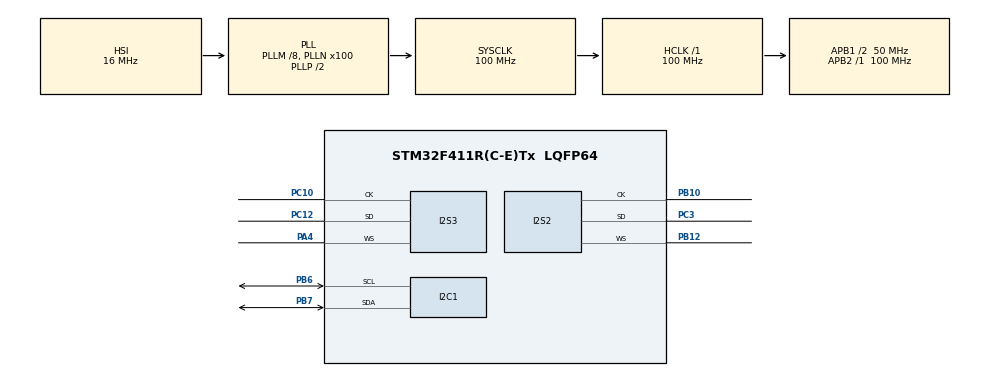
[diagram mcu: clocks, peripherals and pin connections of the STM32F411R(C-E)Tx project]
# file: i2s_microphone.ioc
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Dma.Request0=SPI2_TX
Dma.Request1=SPI3_RX
Dma.SPI2_TX.0.Direction=DMA_MEMORY_TO_PERIPH
Dma.SPI2_TX.0.FIFOMode=DMA_FIFOMODE_DISABLE
Dma.SPI2_TX.0.Instance=DMA1_Stream4
Dma.SPI2_TX.0.MemDataAlignment=DMA_MDATAALIGN_HALFWORD
Dma.SPI2_TX.0.MemInc=DMA_MINC_ENABLE
Dma.SPI2_TX.0.Mode=DMA_NORMAL
Dma.SPI2_TX.0.PeriphDataAlignment=DMA_PDATAALIGN_HALFWORD
Dma.SPI2_TX.0.PeriphInc=DMA_PINC_DISABLE
Dma.SPI2_TX.0.Priority=DMA_PRIORITY_LOW
Dma.SPI3_RX.1.Direction=DMA_PERIPH_TO_MEMORY
Dma.SPI3_RX.1.FIFOMode=DMA_FIFOMODE_DISABLE
Dma.SPI3_RX.1.Instance=DMA1_Stream0
Dma.SPI3_RX.1.MemDataAlignment=DMA_MDATAALIGN_HALFWORD
Dma.SPI3_RX.1.MemInc=DMA_MINC_ENABLE
Dma.SPI3_RX.1.Mode=DMA_NORMAL
Dma.SPI3_RX.1.PeriphDataAlignment=DMA_PDATAALIGN_HALFWORD
Dma.SPI3_RX.1.PeriphInc=DMA_PINC_DISABLE
Dma.SPI3_RX.1.Priority=DMA_PRIORITY_LOW
I2C1.I2C_Mode=I2C_Fast
I2S2.AudioFreq=I2S_AUDIOFREQ_16K
I2S2.ErrorAudioFreq=-0.26 %
I2S2.FullDuplexMode=I2S_FULLDUPLEXMODE_DISABLE
I2S2.Instance=SPI$Index
I2S2.RealAudioFreq=15.957 KHz
I2S2.VirtualMode=I2S_MODE_MASTER
I2S3.AudioFreq=I2S_AUDIOFREQ_16K
I2S3.DataFormat=I2S_DATAFORMAT_16B
I2S3.ErrorAudioFreq=-0.26 %
I2S3.FullDuplexMode=I2S_FULLDUPLEXMODE_DISABLE
I2S3.Instance=SPI$Index
I2S3.Mode=I2S_MODE_MASTER_RX
I2S3.RealAudioFreq=15.957 KHz
I2S3.VirtualMode=I2S_MODE_MASTER
Mcu.Family=STM32F4
Mcu.Name=STM32F411R(C-E)Tx
Mcu.Package=LQFP64
NVIC.DMA1_Stream0_IRQn=true\:0\:0\:false\:false\:true\:false\:true\:true
NVIC.DMA1_Stream4_IRQn=true\:0\:0\:false\:false\:true\:false\:true\:true
NVIC.PriorityGroup=NVIC_PRIORITYGROUP_4
PA4.Mode=Half_Duplex_Master
PA4.Signal=I2S3_WS
PB10.Mode=Half_Duplex_Master
PB10.Signal=I2S2_CK
PB12.Mode=Half_Duplex_Master
PB12.Signal=I2S2_WS
PB6.GPIO_Pu=GPIO_PULLUP
PB6.Mode=I2C
PB6.Signal=I2C1_SCL
PB7.GPIO_Pu=GPIO_PULLUP
PB7.Mode=I2C
PB7.Signal=I2C1_SDA
PC10.Mode=Half_Duplex_Master
PC10.Signal=I2S3_CK
PC12.Mode=Half_Duplex_Master
PC12.Signal=I2S3_SD
PC3.Mode=Half_Duplex_Master
PC3.Signal=I2S2_SD
ProjectManager.HeapSize=0x200
ProjectManager.StackSize=0x400
ProjectManager.TargetToolchain=STM32CubeIDE
RCC.48MHZClocksFreq_Value=50000000
RCC.AHBFreq_Value=100000000
RCC.APB1CLKDivider=RCC_HCLK_DIV2
RCC.APB1Freq_Value=50000000
RCC.APB1TimFreq_Value=100000000
RCC.APB2Freq_Value=100000000
RCC.APB2TimFreq_Value=100000000
RCC.CortexFreq_Value=100000000
RCC.HCLKFreq_Value=100000000
RCC.HSE_VALUE=25000000
RCC.HSI_VALUE=16000000
RCC.LSE_VALUE=32768
RCC.PLLM=8
RCC.PLLN=100
RCC.SYSCLKFreq_VALUE=100000000
RCC.SYSCLKSource=RCC_SYSCLKSOURCE_PLLCLK
RCC.VCOOutputFreq_Value=200000000
board=custom

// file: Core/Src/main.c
/* USER CODE BEGIN Header */
/**
  ******************************************************************************
  * @file           : main.c
  * @brief          : Main program body
  ******************************************************************************
  * @attention
  *
  * Copyright (c) 2024 STMicroelectronics.
  * All rights reserved.
  *
  * This software is licensed under terms that can be found in the LICENSE file
  * in the root directory of this software component.
  * If no LICENSE file comes with this software, it is provided AS-IS.
  *
  ******************************************************************************
  */
/* USER CODE END Header */
#include "main.h"

/* USER CODE BEGIN Includes */
#include "ssd1306.h"
/* USER CODE END Includes */

I2C_HandleTypeDef hi2c1;

I2S_HandleTypeDef hi2s2;
I2S_HandleTypeDef hi2s3;
DMA_HandleTypeDef hdma_spi2_tx;
DMA_HandleTypeDef hdma_spi3_rx;

void SystemClock_Config(void);
void PeriphCommonClock_Config(void);
static void MX_GPIO_Init(void);
static void MX_DMA_Init(void);
static void MX_I2S2_Init(void);
static void MX_I2S3_Init(void);
static void MX_I2C1_Init(void);

/* USER CODE BEGIN 0 */
int16_t 	toReceive[256];
int16_t		toTransmit;
uint16_t	i2s_done = 0;
void HAL_I2S_RxCpltCallback(I2S_HandleTypeDef *hi2s) {
	//toTransmit = toReceive;
	//HAL_I2S_Transmit_DMA(&hi2s2, &toTransmit, 1);
	i2s_done = 1;
	HAL_I2S_Receive_DMA(hi2s, toReceive, 256);
}
/* USER CODE END 0 */

int main(void)
{

  /* MCU Configuration--------------------------------------------------------*/

  /* Reset of all peripherals, Initializes the Flash interface and the Systick. */
  HAL_Init();

  /* Configure the system clock */
  SystemClock_Config();

/* Configure the peripherals common clocks */
  PeriphCommonClock_Config();

  /* Initialize all configured peripherals */
  MX_GPIO_Init();
  MX_DMA_Init();
  MX_I2S2_Init();
  MX_I2S3_Init();
  MX_I2C1_Init();
  /* USER CODE BEGIN 2 */
  HAL_I2S_Receive_DMA(&hi2s3, toReceive, 256);

  ssd1306_Init();
  ssd1306_SetCursor(0, 0);
  ssd1306_WriteString("i2c microphone", Font_6x8, 1);
  ssd1306_UpdateScreen();
  /* USER CODE END 2 */

  /* Infinite loop */
  /* USER CODE BEGIN WHILE */
  while (1)
  {
  	if(i2s_done == 1) {
  		i2s_done = 0;
			ssd1306_Fill(0);
  		for(int x = 0; x < 128; x++) {
				ssd1306_DrawPixel(x, (toReceive[x*2]>>8) + 32, 1);
  		}
			ssd1306_UpdateScreen();
  	}
    /* USER CODE END WHILE */

  }
}

void SystemClock_Config(void)
{
  RCC_OscInitTypeDef RCC_OscInitStruct = {0};
  RCC_ClkInitTypeDef RCC_ClkInitStruct = {0};

  /** Configure the main internal regulator output voltage
  */
  __HAL_RCC_PWR_CLK_ENABLE();
  __HAL_PWR_VOLTAGESCALING_CONFIG(PWR_REGULATOR_VOLTAGE_SCALE1);

  /** Initializes the RCC Oscillators according to the specified parameters
  * in the RCC_OscInitTypeDef structure.
  */
  RCC_OscInitStruct.OscillatorType = RCC_OSCILLATORTYPE_HSI;
  RCC_OscInitStruct.HSIState = RCC_HSI_ON;
  RCC_OscInitStruct.HSICalibrationValue = RCC_HSICALIBRATION_DEFAULT;
  RCC_OscInitStruct.PLL.PLLState = RCC_PLL_ON;
  RCC_OscInitStruct.PLL.PLLSource = RCC_PLLSOURCE_HSI;
  RCC_OscInitStruct.PLL.PLLM = 8;
  RCC_OscInitStruct.PLL.PLLN = 100;
  RCC_OscInitStruct.PLL.PLLP = RCC_PLLP_DIV2;
  RCC_OscInitStruct.PLL.PLLQ = 4;
  if (HAL_RCC_OscConfig(&RCC_OscInitStruct) != HAL_OK)
  {
    Error_Handler();
  }

  /** Initializes the CPU, AHB and APB buses clocks
  */
  RCC_ClkInitStruct.ClockType = RCC_CLOCKTYPE_HCLK|RCC_CLOCKTYPE_SYSCLK
                              |RCC_CLOCKTYPE_PCLK1|RCC_CLOCKTYPE_PCLK2;
  RCC_ClkInitStruct.SYSCLKSource = RCC_SYSCLKSOURCE_PLLCLK;
  RCC_ClkInitStruct.AHBCLKDivider = RCC_SYSCLK_DIV1;
  RCC_ClkInitStruct.APB1CLKDivider = RCC_HCLK_DIV2;
  RCC_ClkInitStruct.APB2CLKDivider = RCC_HCLK_DIV1;

  if (HAL_RCC_ClockConfig(&RCC_ClkInitStruct, FLASH_LATENCY_3) != HAL_OK)
  {
    Error_Handler();
  }
}

void PeriphCommonClock_Config(void)
{
  RCC_PeriphCLKInitTypeDef PeriphClkInitStruct = {0};

  /** Initializes the peripherals clock
  */
  PeriphClkInitStruct.PeriphClockSelection = RCC_PERIPHCLK_I2S;
  PeriphClkInitStruct.PLLI2S.PLLI2SN = 192;
  PeriphClkInitStruct.PLLI2S.PLLI2SM = 16;
  PeriphClkInitStruct.PLLI2S.PLLI2SR = 2;
  if (HAL_RCCEx_PeriphCLKConfig(&PeriphClkInitStruct) != HAL_OK)
  {
    Error_Handler();
  }
}

static void MX_I2C1_Init(void)
{

  hi2c1.Instance = I2C1;
  hi2c1.Init.ClockSpeed = 400000;
  hi2c1.Init.DutyCycle = I2C_DUTYCYCLE_2;
  hi2c1.Init.OwnAddress1 = 0;
  hi2c1.Init.AddressingMode = I2C_ADDRESSINGMODE_7BIT;
  hi2c1.Init.DualAddressMode = I2C_DUALADDRESS_DISABLE;
  hi2c1.Init.OwnAddress2 = 0;
  hi2c1.Init.GeneralCallMode = I2C_GENERALCALL_DISABLE;
  hi2c1.Init.NoStretchMode = I2C_NOSTRETCH_DISABLE;
  if (HAL_I2C_Init(&hi2c1) != HAL_OK)
  {
    Error_Handler();
  }

}

static void MX_I2S2_Init(void)
{

  hi2s2.Instance = SPI2;
  hi2s2.Init.Mode = I2S_MODE_MASTER_TX;
  hi2s2.Init.Standard = I2S_STANDARD_PHILIPS;
  hi2s2.Init.DataFormat = I2S_DATAFORMAT_16B;
  hi2s2.Init.MCLKOutput = I2S_MCLKOUTPUT_DISABLE;
  hi2s2.Init.AudioFreq = I2S_AUDIOFREQ_16K;
  hi2s2.Init.CPOL = I2S_CPOL_LOW;
  hi2s2.Init.ClockSource = I2S_CLOCK_PLL;
  hi2s2.Init.FullDuplexMode = I2S_FULLDUPLEXMODE_DISABLE;
  if (HAL_I2S_Init(&hi2s2) != HAL_OK)
  {
    Error_Handler();
  }

}

static void MX_I2S3_Init(void)
{

  hi2s3.Instance = SPI3;
  hi2s3.Init.Mode = I2S_MODE_MASTER_RX;
  hi2s3.Init.Standard = I2S_STANDARD_PHILIPS;
  hi2s3.Init.DataFormat = I2S_DATAFORMAT_16B;
  hi2s3.Init.MCLKOutput = I2S_MCLKOUTPUT_DISABLE;
  hi2s3.Init.AudioFreq = I2S_AUDIOFREQ_16K;
  hi2s3.Init.CPOL = I2S_CPOL_LOW;
  hi2s3.Init.ClockSource = I2S_CLOCK_PLL;
  hi2s3.Init.FullDuplexMode = I2S_FULLDUPLEXMODE_DISABLE;
  if (HAL_I2S_Init(&hi2s3) != HAL_OK)
  {
    Error_Handler();
  }

}

static void MX_DMA_Init(void)
{

  /* DMA controller clock enable */
  __HAL_RCC_DMA1_CLK_ENABLE();

  /* DMA interrupt init */
  /* DMA1_Stream0_IRQn interrupt configuration */
  HAL_NVIC_SetPriority(DMA1_Stream0_IRQn, 0, 0);
  HAL_NVIC_EnableIRQ(DMA1_Stream0_IRQn);
  /* DMA1_Stream4_IRQn interrupt configuration */
  HAL_NVIC_SetPriority(DMA1_Stream4_IRQn, 0, 0);
  HAL_NVIC_EnableIRQ(DMA1_Stream4_IRQn);

}

static void MX_GPIO_Init(void)
{

  /* GPIO Ports Clock Enable */
  __HAL_RCC_GPIOC_CLK_ENABLE();
  __HAL_RCC_GPIOA_CLK_ENABLE();
  __HAL_RCC_GPIOB_CLK_ENABLE();

}

void Error_Handler(void)
{
  __disable_irq();
  while (1)
  {
  }
}
